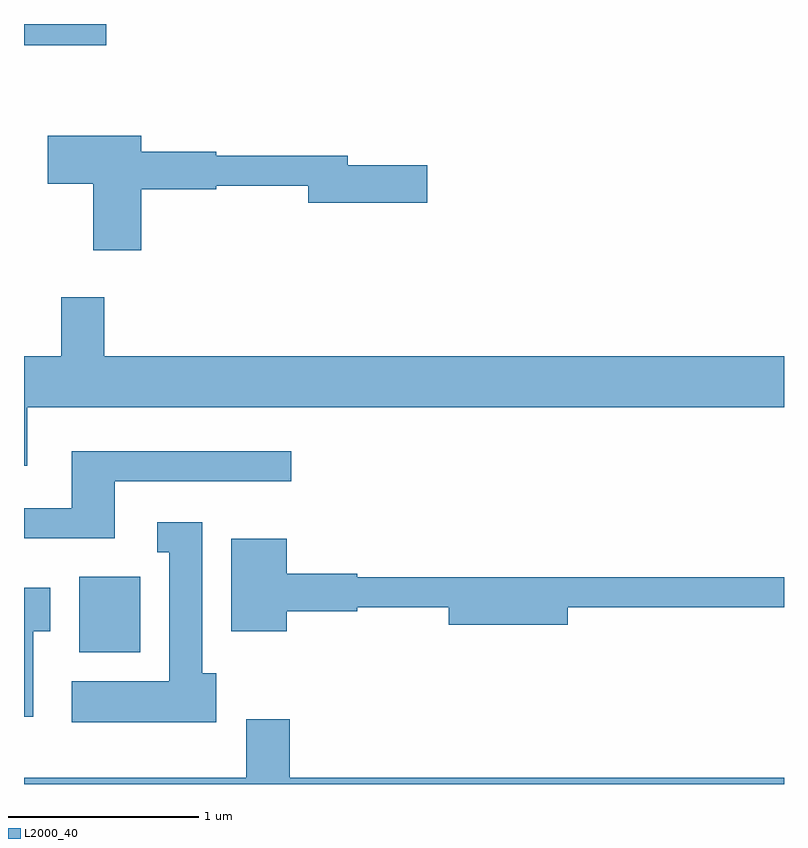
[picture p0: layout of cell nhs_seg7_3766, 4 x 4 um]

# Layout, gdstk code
import gdstk
lib = gdstk.Library(unit=1e-6, precision=1e-09)
def R(c, l, rs):  # rectangles x0, y0, x1, y1
    for r in rs: c.add(gdstk.rectangle(r[:2], r[2:], *l))
def P(c, l, *ps):  # polygons
    for p in ps: c.add(gdstk.Polygon(p, *l))
L2000_40 = (2000, 40)

nhs_seg7_3766 = lib.new_cell('nhs_seg7_3766')
R(nhs_seg7_3766, L2000_40, [(299.901,1792.946,300.224,1793.344), (299.611,1796.141,300.043,1796.252)])
P(nhs_seg7_3766, L2000_40, [(300.229,1795.381),(300.624,1795.381),(300.624,1795.401),(301.106,1795.401),(301.106,1795.311),(301.734,1795.311),(301.734,1795.509),(301.314,1795.509),(301.314,1795.559),(300.624,1795.559),(300.624,1795.579),(300.229,1795.579),(300.229,1795.664),(299.736,1795.664),(299.736,1795.411),(299.976,1795.411),(299.976,1795.061),(300.229,1795.061)],
  [(299.629,1794.236),(303.611,1794.236),(303.611,1794.504),(300.034,1794.504),(300.034,1794.814),(299.806,1794.814),(299.806,1794.504),(299.611,1794.504),(299.611,1793.926),(299.629,1793.926)],
  [(300.089,1793.846),(301.018,1793.846),(301.018,1794.004),(299.861,1794.004),(299.861,1793.704),(299.611,1793.704),(299.611,1793.546),(300.089,1793.546)],
  [(300.624,1792.834),(300.549,1792.834),(300.549,1793.629),(300.313,1793.629),(300.313,1793.471),(300.376,1793.471),(300.376,1792.794),(299.861,1792.794),(299.861,1792.576),(300.624,1792.576)],
  [(300.994,1793.161),(301.364,1793.161),(301.364,1793.181),(301.846,1793.181),(301.846,1793.091),(302.474,1793.091),(302.474,1793.181),(303.611,1793.181),(303.611,1793.339),(301.364,1793.339),(301.364,1793.359),(300.994,1793.359),(300.994,1793.544),(300.701,1793.544),(300.701,1793.056),(300.994,1793.056)],
  [(299.659,1793.056),(299.749,1793.056),(299.749,1793.284),(299.611,1793.284),(299.611,1792.606),(299.659,1792.606)],
  [(303.611,1792.284),(301.009,1792.284),(301.009,1792.594),(300.781,1792.594),(300.781,1792.284),(299.611,1792.284),(299.611,1792.252),(303.611,1792.252)])

lib.write_gds('nhs_seg7_3766.gds')
